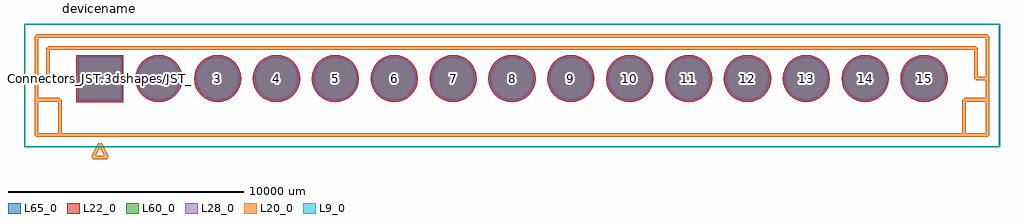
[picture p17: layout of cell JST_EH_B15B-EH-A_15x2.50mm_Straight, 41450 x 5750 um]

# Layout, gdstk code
import gdstk
lib = gdstk.Library(unit=1e-6, precision=1e-09)
def R(c, l, rs):  # rectangles x0, y0, x1, y1
    for r in rs: c.add(gdstk.rectangle(r[:2], r[2:], *l))
def P(c, l, *ps):  # polygons
    for p in ps: c.add(gdstk.Polygon(p, *l))
L9_0 = (9, 0)
L20_0 = (20, 0)
L22_0 = (22, 0)
L28_0 = (28, 0)
L60_0 = (60, 0)
L65_0 = (65, 0)

jst_eh_b15b_eh_a_15x2_50 = lib.new_cell('JST_EH_B15B-EH-A_15x2.50mm_Straight')
R(jst_eh_b15b_eh_a_15x2_50, L22_0, [(-1000,-1000,1000,1000)])
P(jst_eh_b15b_eh_a_15x2_50, L22_0, [(36000,0),(35980.785,195.09),(35923.88,382.683),(35831.47,555.57),(35707.107,707.107),(35555.57,831.47),(35382.683,923.88),(35195.09,980.785),(35000,1000),(34804.91,980.785),(34617.317,923.88),(34444.43,831.47),(34292.893,707.107),(34168.53,555.57),(34076.12,382.683),(34019.215,195.09),(34000,0),(34019.215,-195.09),(34076.12,-382.683),(34168.53,-555.57),(34292.893,-707.107),(34444.43,-831.47),(34617.317,-923.88),(34804.91,-980.785),(35000,-1000),(35195.09,-980.785),(35382.683,-923.88),(35555.57,-831.47),(35707.107,-707.107),(35831.47,-555.57),(35923.88,-382.683),(35980.785,-195.09)],
  [(33500,0),(33480.785,195.09),(33423.88,382.683),(33331.47,555.57),(33207.107,707.107),(33055.57,831.47),(32882.683,923.88),(32695.09,980.785),(32500,1000),(32304.91,980.785),(32117.317,923.88),(31944.43,831.47),(31792.893,707.107),(31668.53,555.57),(31576.12,382.683),(31519.215,195.09),(31500,0),(31519.215,-195.09),(31576.12,-382.683),(31668.53,-555.57),(31792.893,-707.107),(31944.43,-831.47),(32117.317,-923.88),(32304.91,-980.785),(32500,-1000),(32695.09,-980.785),(32882.683,-923.88),(33055.57,-831.47),(33207.107,-707.107),(33331.47,-555.57),(33423.88,-382.683),(33480.785,-195.09)],
  [(31000,0),(30980.785,195.09),(30923.88,382.683),(30831.47,555.57),(30707.107,707.107),(30555.57,831.47),(30382.683,923.88),(30195.09,980.785),(30000,1000),(29804.91,980.785),(29617.317,923.88),(29444.43,831.47),(29292.893,707.107),(29168.53,555.57),(29076.12,382.683),(29019.215,195.09),(29000,0),(29019.215,-195.09),(29076.12,-382.683),(29168.53,-555.57),(29292.893,-707.107),(29444.43,-831.47),(29617.317,-923.88),(29804.91,-980.785),(30000,-1000),(30195.09,-980.785),(30382.683,-923.88),(30555.57,-831.47),(30707.107,-707.107),(30831.47,-555.57),(30923.88,-382.683),(30980.785,-195.09)],
  [(28500,0),(28480.785,195.09),(28423.88,382.683),(28331.47,555.57),(28207.107,707.107),(28055.57,831.47),(27882.683,923.88),(27695.09,980.785),(27500,1000),(27304.91,980.785),(27117.317,923.88),(26944.43,831.47),(26792.893,707.107),(26668.53,555.57),(26576.12,382.683),(26519.215,195.09),(26500,0),(26519.215,-195.09),(26576.12,-382.683),(26668.53,-555.57),(26792.893,-707.107),(26944.43,-831.47),(27117.317,-923.88),(27304.91,-980.785),(27500,-1000),(27695.09,-980.785),(27882.683,-923.88),(28055.57,-831.47),(28207.107,-707.107),(28331.47,-555.57),(28423.88,-382.683),(28480.785,-195.09)],
  [(26000,0),(25980.785,195.09),(25923.88,382.683),(25831.47,555.57),(25707.107,707.107),(25555.57,831.47),(25382.683,923.88),(25195.09,980.785),(25000,1000),(24804.91,980.785),(24617.317,923.88),(24444.43,831.47),(24292.893,707.107),(24168.53,555.57),(24076.12,382.683),(24019.215,195.09),(24000,0),(24019.215,-195.09),(24076.12,-382.683),(24168.53,-555.57),(24292.893,-707.107),(24444.43,-831.47),(24617.317,-923.88),(24804.91,-980.785),(25000,-1000),(25195.09,-980.785),(25382.683,-923.88),(25555.57,-831.47),(25707.107,-707.107),(25831.47,-555.57),(25923.88,-382.683),(25980.785,-195.09)],
  [(23500,0),(23480.785,195.09),(23423.88,382.683),(23331.47,555.57),(23207.107,707.107),(23055.57,831.47),(22882.683,923.88),(22695.09,980.785),(22500,1000),(22304.91,980.785),(22117.317,923.88),(21944.43,831.47),(21792.893,707.107),(21668.53,555.57),(21576.12,382.683),(21519.215,195.09),(21500,0),(21519.215,-195.09),(21576.12,-382.683),(21668.53,-555.57),(21792.893,-707.107),(21944.43,-831.47),(22117.317,-923.88),(22304.91,-980.785),(22500,-1000),(22695.09,-980.785),(22882.683,-923.88),(23055.57,-831.47),(23207.107,-707.107),(23331.47,-555.57),(23423.88,-382.683),(23480.785,-195.09)],
  [(21000,0),(20980.785,195.09),(20923.88,382.683),(20831.47,555.57),(20707.107,707.107),(20555.57,831.47),(20382.683,923.88),(20195.09,980.785),(20000,1000),(19804.91,980.785),(19617.317,923.88),(19444.43,831.47),(19292.893,707.107),(19168.53,555.57),(19076.12,382.683),(19019.215,195.09),(19000,0),(19019.215,-195.09),(19076.12,-382.683),(19168.53,-555.57),(19292.893,-707.107),(19444.43,-831.47),(19617.317,-923.88),(19804.91,-980.785),(20000,-1000),(20195.09,-980.785),(20382.683,-923.88),(20555.57,-831.47),(20707.107,-707.107),(20831.47,-555.57),(20923.88,-382.683),(20980.785,-195.09)],
  [(18500,0),(18480.785,195.09),(18423.88,382.683),(18331.47,555.57),(18207.107,707.107),(18055.57,831.47),(17882.683,923.88),(17695.09,980.785),(17500,1000),(17304.91,980.785),(17117.317,923.88),(16944.43,831.47),(16792.893,707.107),(16668.53,555.57),(16576.12,382.683),(16519.215,195.09),(16500,0),(16519.215,-195.09),(16576.12,-382.683),(16668.53,-555.57),(16792.893,-707.107),(16944.43,-831.47),(17117.317,-923.88),(17304.91,-980.785),(17500,-1000),(17695.09,-980.785),(17882.683,-923.88),(18055.57,-831.47),(18207.107,-707.107),(18331.47,-555.57),(18423.88,-382.683),(18480.785,-195.09)],
  [(16000,0),(15980.785,195.09),(15923.88,382.683),(15831.47,555.57),(15707.107,707.107),(15555.57,831.47),(15382.683,923.88),(15195.09,980.785),(15000,1000),(14804.91,980.785),(14617.317,923.88),(14444.43,831.47),(14292.893,707.107),(14168.53,555.57),(14076.12,382.683),(14019.215,195.09),(14000,0),(14019.215,-195.09),(14076.12,-382.683),(14168.53,-555.57),(14292.893,-707.107),(14444.43,-831.47),(14617.317,-923.88),(14804.91,-980.785),(15000,-1000),(15195.09,-980.785),(15382.683,-923.88),(15555.57,-831.47),(15707.107,-707.107),(15831.47,-555.57),(15923.88,-382.683),(15980.785,-195.09)],
  [(13500,0),(13480.785,195.09),(13423.88,382.683),(13331.47,555.57),(13207.107,707.107),(13055.57,831.47),(12882.683,923.88),(12695.09,980.785),(12500,1000),(12304.91,980.785),(12117.317,923.88),(11944.43,831.47),(11792.893,707.107),(11668.53,555.57),(11576.12,382.683),(11519.215,195.09),(11500,0),(11519.215,-195.09),(11576.12,-382.683),(11668.53,-555.57),(11792.893,-707.107),(11944.43,-831.47),(12117.317,-923.88),(12304.91,-980.785),(12500,-1000),(12695.09,-980.785),(12882.683,-923.88),(13055.57,-831.47),(13207.107,-707.107),(13331.47,-555.57),(13423.88,-382.683),(13480.785,-195.09)],
  [(11000,0),(10980.785,195.09),(10923.88,382.683),(10831.47,555.57),(10707.107,707.107),(10555.57,831.47),(10382.683,923.88),(10195.09,980.785),(10000,1000),(9804.91,980.785),(9617.317,923.88),(9444.43,831.47),(9292.893,707.107),(9168.53,555.57),(9076.12,382.683),(9019.215,195.09),(9000,0),(9019.215,-195.09),(9076.12,-382.683),(9168.53,-555.57),(9292.893,-707.107),(9444.43,-831.47),(9617.317,-923.88),(9804.91,-980.785),(10000,-1000),(10195.09,-980.785),(10382.683,-923.88),(10555.57,-831.47),(10707.107,-707.107),(10831.47,-555.57),(10923.88,-382.683),(10980.785,-195.09)],
  [(8500,0),(8480.785,195.09),(8423.88,382.683),(8331.47,555.57),(8207.107,707.107),(8055.57,831.47),(7882.683,923.88),(7695.09,980.785),(7500,1000),(7304.91,980.785),(7117.317,923.88),(6944.43,831.47),(6792.893,707.107),(6668.53,555.57),(6576.12,382.683),(6519.215,195.09),(6500,0),(6519.215,-195.09),(6576.12,-382.683),(6668.53,-555.57),(6792.893,-707.107),(6944.43,-831.47),(7117.317,-923.88),(7304.91,-980.785),(7500,-1000),(7695.09,-980.785),(7882.683,-923.88),(8055.57,-831.47),(8207.107,-707.107),(8331.47,-555.57),(8423.88,-382.683),(8480.785,-195.09)],
  [(6000,0),(5980.785,195.09),(5923.88,382.683),(5831.47,555.57),(5707.107,707.107),(5555.57,831.47),(5382.683,923.88),(5195.09,980.785),(5000,1000),(4804.91,980.785),(4617.317,923.88),(4444.43,831.47),(4292.893,707.107),(4168.53,555.57),(4076.12,382.683),(4019.215,195.09),(4000,0),(4019.215,-195.09),(4076.12,-382.683),(4168.53,-555.57),(4292.893,-707.107),(4444.43,-831.47),(4617.317,-923.88),(4804.91,-980.785),(5000,-1000),(5195.09,-980.785),(5382.683,-923.88),(5555.57,-831.47),(5707.107,-707.107),(5831.47,-555.57),(5923.88,-382.683),(5980.785,-195.09)],
  [(3500,0),(3480.785,195.09),(3423.88,382.683),(3331.47,555.57),(3207.107,707.107),(3055.57,831.47),(2882.683,923.88),(2695.09,980.785),(2500,1000),(2304.91,980.785),(2117.317,923.88),(1944.43,831.47),(1792.893,707.107),(1668.53,555.57),(1576.12,382.683),(1519.215,195.09),(1500,0),(1519.215,-195.09),(1576.12,-382.683),(1668.53,-555.57),(1792.893,-707.107),(1944.43,-831.47),(2117.317,-923.88),(2304.91,-980.785),(2500,-1000),(2695.09,-980.785),(2882.683,-923.88),(3055.57,-831.47),(3207.107,-707.107),(3331.47,-555.57),(3423.88,-382.683),(3480.785,-195.09)])
R(jst_eh_b15b_eh_a_15x2_50, L28_0, [(-925,-925,925,925)])
P(jst_eh_b15b_eh_a_15x2_50, L28_0, [(35925,0),(35907.226,180.459),(35854.589,353.982),(35769.109,513.902),(35654.074,654.074),(35513.902,769.109),(35353.982,854.589),(35180.459,907.226),(35000,925),(34819.541,907.226),(34646.018,854.589),(34486.098,769.109),(34345.926,654.074),(34230.891,513.902),(34145.411,353.982),(34092.774,180.459),(34075,0),(34092.774,-180.459),(34145.411,-353.982),(34230.891,-513.902),(34345.926,-654.074),(34486.098,-769.109),(34646.018,-854.589),(34819.541,-907.226),(35000,-925),(35180.459,-907.226),(35353.982,-854.589),(35513.902,-769.109),(35654.074,-654.074),(35769.109,-513.902),(35854.589,-353.982),(35907.226,-180.459)],
  [(33425,0),(33407.226,180.459),(33354.589,353.982),(33269.109,513.902),(33154.074,654.074),(33013.902,769.109),(32853.982,854.589),(32680.459,907.226),(32500,925),(32319.541,907.226),(32146.018,854.589),(31986.098,769.109),(31845.926,654.074),(31730.891,513.902),(31645.411,353.982),(31592.774,180.459),(31575,0),(31592.774,-180.459),(31645.411,-353.982),(31730.891,-513.902),(31845.926,-654.074),(31986.098,-769.109),(32146.018,-854.589),(32319.541,-907.226),(32500,-925),(32680.459,-907.226),(32853.982,-854.589),(33013.902,-769.109),(33154.074,-654.074),(33269.109,-513.902),(33354.589,-353.982),(33407.226,-180.459)],
  [(30925,0),(30907.226,180.459),(30854.589,353.982),(30769.109,513.902),(30654.074,654.074),(30513.902,769.109),(30353.982,854.589),(30180.459,907.226),(30000,925),(29819.541,907.226),(29646.018,854.589),(29486.098,769.109),(29345.926,654.074),(29230.891,513.902),(29145.411,353.982),(29092.774,180.459),(29075,0),(29092.774,-180.459),(29145.411,-353.982),(29230.891,-513.902),(29345.926,-654.074),(29486.098,-769.109),(29646.018,-854.589),(29819.541,-907.226),(30000,-925),(30180.459,-907.226),(30353.982,-854.589),(30513.902,-769.109),(30654.074,-654.074),(30769.109,-513.902),(30854.589,-353.982),(30907.226,-180.459)],
  [(28425,0),(28407.226,180.459),(28354.589,353.982),(28269.109,513.902),(28154.074,654.074),(28013.902,769.109),(27853.982,854.589),(27680.459,907.226),(27500,925),(27319.541,907.226),(27146.018,854.589),(26986.098,769.109),(26845.926,654.074),(26730.891,513.902),(26645.411,353.982),(26592.774,180.459),(26575,0),(26592.774,-180.459),(26645.411,-353.982),(26730.891,-513.902),(26845.926,-654.074),(26986.098,-769.109),(27146.018,-854.589),(27319.541,-907.226),(27500,-925),(27680.459,-907.226),(27853.982,-854.589),(28013.902,-769.109),(28154.074,-654.074),(28269.109,-513.902),(28354.589,-353.982),(28407.226,-180.459)],
  [(25925,0),(25907.226,180.459),(25854.589,353.982),(25769.109,513.902),(25654.074,654.074),(25513.902,769.109),(25353.982,854.589),(25180.459,907.226),(25000,925),(24819.541,907.226),(24646.018,854.589),(24486.098,769.109),(24345.926,654.074),(24230.891,513.902),(24145.411,353.982),(24092.774,180.459),(24075,0),(24092.774,-180.459),(24145.411,-353.982),(24230.891,-513.902),(24345.926,-654.074),(24486.098,-769.109),(24646.018,-854.589),(24819.541,-907.226),(25000,-925),(25180.459,-907.226),(25353.982,-854.589),(25513.902,-769.109),(25654.074,-654.074),(25769.109,-513.902),(25854.589,-353.982),(25907.226,-180.459)],
  [(23425,0),(23407.226,180.459),(23354.589,353.982),(23269.109,513.902),(23154.074,654.074),(23013.902,769.109),(22853.982,854.589),(22680.459,907.226),(22500,925),(22319.541,907.226),(22146.018,854.589),(21986.098,769.109),(21845.926,654.074),(21730.891,513.902),(21645.411,353.982),(21592.774,180.459),(21575,0),(21592.774,-180.459),(21645.411,-353.982),(21730.891,-513.902),(21845.926,-654.074),(21986.098,-769.109),(22146.018,-854.589),(22319.541,-907.226),(22500,-925),(22680.459,-907.226),(22853.982,-854.589),(23013.902,-769.109),(23154.074,-654.074),(23269.109,-513.902),(23354.589,-353.982),(23407.226,-180.459)],
  [(20925,0),(20907.226,180.459),(20854.589,353.982),(20769.109,513.902),(20654.074,654.074),(20513.902,769.109),(20353.982,854.589),(20180.459,907.226),(20000,925),(19819.541,907.226),(19646.018,854.589),(19486.098,769.109),(19345.926,654.074),(19230.891,513.902),(19145.411,353.982),(19092.774,180.459),(19075,0),(19092.774,-180.459),(19145.411,-353.982),(19230.891,-513.902),(19345.926,-654.074),(19486.098,-769.109),(19646.018,-854.589),(19819.541,-907.226),(20000,-925),(20180.459,-907.226),(20353.982,-854.589),(20513.902,-769.109),(20654.074,-654.074),(20769.109,-513.902),(20854.589,-353.982),(20907.226,-180.459)],
  [(18425,0),(18407.226,180.459),(18354.589,353.982),(18269.109,513.902),(18154.074,654.074),(18013.902,769.109),(17853.982,854.589),(17680.459,907.226),(17500,925),(17319.541,907.226),(17146.018,854.589),(16986.098,769.109),(16845.926,654.074),(16730.891,513.902),(16645.411,353.982),(16592.774,180.459),(16575,0),(16592.774,-180.459),(16645.411,-353.982),(16730.891,-513.902),(16845.926,-654.074),(16986.098,-769.109),(17146.018,-854.589),(17319.541,-907.226),(17500,-925),(17680.459,-907.226),(17853.982,-854.589),(18013.902,-769.109),(18154.074,-654.074),(18269.109,-513.902),(18354.589,-353.982),(18407.226,-180.459)],
  [(15925,0),(15907.226,180.459),(15854.589,353.982),(15769.109,513.902),(15654.074,654.074),(15513.902,769.109),(15353.982,854.589),(15180.459,907.226),(15000,925),(14819.541,907.226),(14646.018,854.589),(14486.098,769.109),(14345.926,654.074),(14230.891,513.902),(14145.411,353.982),(14092.774,180.459),(14075,0),(14092.774,-180.459),(14145.411,-353.982),(14230.891,-513.902),(14345.926,-654.074),(14486.098,-769.109),(14646.018,-854.589),(14819.541,-907.226),(15000,-925),(15180.459,-907.226),(15353.982,-854.589),(15513.902,-769.109),(15654.074,-654.074),(15769.109,-513.902),(15854.589,-353.982),(15907.226,-180.459)],
  [(13425,0),(13407.226,180.459),(13354.589,353.982),(13269.109,513.902),(13154.074,654.074),(13013.902,769.109),(12853.982,854.589),(12680.459,907.226),(12500,925),(12319.541,907.226),(12146.018,854.589),(11986.098,769.109),(11845.926,654.074),(11730.891,513.902),(11645.411,353.982),(11592.774,180.459),(11575,0),(11592.774,-180.459),(11645.411,-353.982),(11730.891,-513.902),(11845.926,-654.074),(11986.098,-769.109),(12146.018,-854.589),(12319.541,-907.226),(12500,-925),(12680.459,-907.226),(12853.982,-854.589),(13013.902,-769.109),(13154.074,-654.074),(13269.109,-513.902),(13354.589,-353.982),(13407.226,-180.459)],
  [(10925,0),(10907.226,180.459),(10854.589,353.982),(10769.109,513.902),(10654.074,654.074),(10513.902,769.109),(10353.982,854.589),(10180.459,907.226),(10000,925),(9819.541,907.226),(9646.018,854.589),(9486.098,769.109),(9345.926,654.074),(9230.891,513.902),(9145.411,353.982),(9092.774,180.459),(9075,0),(9092.774,-180.459),(9145.411,-353.982),(9230.891,-513.902),(9345.926,-654.074),(9486.098,-769.109),(9646.018,-854.589),(9819.541,-907.226),(10000,-925),(10180.459,-907.226),(10353.982,-854.589),(10513.902,-769.109),(10654.074,-654.074),(10769.109,-513.902),(10854.589,-353.982),(10907.226,-180.459)],
  [(8425,0),(8407.226,180.459),(8354.589,353.982),(8269.109,513.902),(8154.074,654.074),(8013.902,769.109),(7853.982,854.589),(7680.459,907.226),(7500,925),(7319.541,907.226),(7146.018,854.589),(6986.098,769.109),(6845.926,654.074),(6730.891,513.902),(6645.411,353.982),(6592.774,180.459),(6575,0),(6592.774,-180.459),(6645.411,-353.982),(6730.891,-513.902),(6845.926,-654.074),(6986.098,-769.109),(7146.018,-854.589),(7319.541,-907.226),(7500,-925),(7680.459,-907.226),(7853.982,-854.589),(8013.902,-769.109),(8154.074,-654.074),(8269.109,-513.902),(8354.589,-353.982),(8407.226,-180.459)],
  [(5925,0),(5907.226,180.459),(5854.589,353.982),(5769.109,513.902),(5654.074,654.074),(5513.902,769.109),(5353.982,854.589),(5180.459,907.226),(5000,925),(4819.541,907.226),(4646.018,854.589),(4486.098,769.109),(4345.926,654.074),(4230.891,513.902),(4145.411,353.982),(4092.774,180.459),(4075,0),(4092.774,-180.459),(4145.411,-353.982),(4230.891,-513.902),(4345.926,-654.074),(4486.098,-769.109),(4646.018,-854.589),(4819.541,-907.226),(5000,-925),(5180.459,-907.226),(5353.982,-854.589),(5513.902,-769.109),(5654.074,-654.074),(5769.109,-513.902),(5854.589,-353.982),(5907.226,-180.459)],
  [(3425,0),(3407.226,180.459),(3354.589,353.982),(3269.109,513.902),(3154.074,654.074),(3013.902,769.109),(2853.982,854.589),(2680.459,907.226),(2500,925),(2319.541,907.226),(2146.018,854.589),(1986.098,769.109),(1845.926,654.074),(1730.891,513.902),(1645.411,353.982),(1592.774,180.459),(1575,0),(1592.774,-180.459),(1645.411,-353.982),(1730.891,-513.902),(1845.926,-654.074),(1986.098,-769.109),(2146.018,-854.589),(2319.541,-907.226),(2500,-925),(2680.459,-907.226),(2853.982,-854.589),(3013.902,-769.109),(3154.074,-654.074),(3269.109,-513.902),(3354.589,-353.982),(3407.226,-180.459)])
R(jst_eh_b15b_eh_a_15x2_50, L60_0, [(-925,-925,925,925)])
P(jst_eh_b15b_eh_a_15x2_50, L60_0, [(35925,0),(35907.226,180.459),(35854.589,353.982),(35769.109,513.902),(35654.074,654.074),(35513.902,769.109),(35353.982,854.589),(35180.459,907.226),(35000,925),(34819.541,907.226),(34646.018,854.589),(34486.098,769.109),(34345.926,654.074),(34230.891,513.902),(34145.411,353.982),(34092.774,180.459),(34075,0),(34092.774,-180.459),(34145.411,-353.982),(34230.891,-513.902),(34345.926,-654.074),(34486.098,-769.109),(34646.018,-854.589),(34819.541,-907.226),(35000,-925),(35180.459,-907.226),(35353.982,-854.589),(35513.902,-769.109),(35654.074,-654.074),(35769.109,-513.902),(35854.589,-353.982),(35907.226,-180.459)],
  [(33425,0),(33407.226,180.459),(33354.589,353.982),(33269.109,513.902),(33154.074,654.074),(33013.902,769.109),(32853.982,854.589),(32680.459,907.226),(32500,925),(32319.541,907.226),(32146.018,854.589),(31986.098,769.109),(31845.926,654.074),(31730.891,513.902),(31645.411,353.982),(31592.774,180.459),(31575,0),(31592.774,-180.459),(31645.411,-353.982),(31730.891,-513.902),(31845.926,-654.074),(31986.098,-769.109),(32146.018,-854.589),(32319.541,-907.226),(32500,-925),(32680.459,-907.226),(32853.982,-854.589),(33013.902,-769.109),(33154.074,-654.074),(33269.109,-513.902),(33354.589,-353.982),(33407.226,-180.459)],
  [(30925,0),(30907.226,180.459),(30854.589,353.982),(30769.109,513.902),(30654.074,654.074),(30513.902,769.109),(30353.982,854.589),(30180.459,907.226),(30000,925),(29819.541,907.226),(29646.018,854.589),(29486.098,769.109),(29345.926,654.074),(29230.891,513.902),(29145.411,353.982),(29092.774,180.459),(29075,0),(29092.774,-180.459),(29145.411,-353.982),(29230.891,-513.902),(29345.926,-654.074),(29486.098,-769.109),(29646.018,-854.589),(29819.541,-907.226),(30000,-925),(30180.459,-907.226),(30353.982,-854.589),(30513.902,-769.109),(30654.074,-654.074),(30769.109,-513.902),(30854.589,-353.982),(30907.226,-180.459)],
  [(28425,0),(28407.226,180.459),(28354.589,353.982),(28269.109,513.902),(28154.074,654.074),(28013.902,769.109),(27853.982,854.589),(27680.459,907.226),(27500,925),(27319.541,907.226),(27146.018,854.589),(26986.098,769.109),(26845.926,654.074),(26730.891,513.902),(26645.411,353.982),(26592.774,180.459),(26575,0),(26592.774,-180.459),(26645.411,-353.982),(26730.891,-513.902),(26845.926,-654.074),(26986.098,-769.109),(27146.018,-854.589),(27319.541,-907.226),(27500,-925),(27680.459,-907.226),(27853.982,-854.589),(28013.902,-769.109),(28154.074,-654.074),(28269.109,-513.902),(28354.589,-353.982),(28407.226,-180.459)],
  [(25925,0),(25907.226,180.459),(25854.589,353.982),(25769.109,513.902),(25654.074,654.074),(25513.902,769.109),(25353.982,854.589),(25180.459,907.226),(25000,925),(24819.541,907.226),(24646.018,854.589),(24486.098,769.109),(24345.926,654.074),(24230.891,513.902),(24145.411,353.982),(24092.774,180.459),(24075,0),(24092.774,-180.459),(24145.411,-353.982),(24230.891,-513.902),(24345.926,-654.074),(24486.098,-769.109),(24646.018,-854.589),(24819.541,-907.226),(25000,-925),(25180.459,-907.226),(25353.982,-854.589),(25513.902,-769.109),(25654.074,-654.074),(25769.109,-513.902),(25854.589,-353.982),(25907.226,-180.459)],
  [(23425,0),(23407.226,180.459),(23354.589,353.982),(23269.109,513.902),(23154.074,654.074),(23013.902,769.109),(22853.982,854.589),(22680.459,907.226),(22500,925),(22319.541,907.226),(22146.018,854.589),(21986.098,769.109),(21845.926,654.074),(21730.891,513.902),(21645.411,353.982),(21592.774,180.459),(21575,0),(21592.774,-180.459),(21645.411,-353.982),(21730.891,-513.902),(21845.926,-654.074),(21986.098,-769.109),(22146.018,-854.589),(22319.541,-907.226),(22500,-925),(22680.459,-907.226),(22853.982,-854.589),(23013.902,-769.109),(23154.074,-654.074),(23269.109,-513.902),(23354.589,-353.982),(23407.226,-180.459)],
  [(20925,0),(20907.226,180.459),(20854.589,353.982),(20769.109,513.902),(20654.074,654.074),(20513.902,769.109),(20353.982,854.589),(20180.459,907.226),(20000,925),(19819.541,907.226),(19646.018,854.589),(19486.098,769.109),(19345.926,654.074),(19230.891,513.902),(19145.411,353.982),(19092.774,180.459),(19075,0),(19092.774,-180.459),(19145.411,-353.982),(19230.891,-513.902),(19345.926,-654.074),(19486.098,-769.109),(19646.018,-854.589),(19819.541,-907.226),(20000,-925),(20180.459,-907.226),(20353.982,-854.589),(20513.902,-769.109),(20654.074,-654.074),(20769.109,-513.902),(20854.589,-353.982),(20907.226,-180.459)],
  [(18425,0),(18407.226,180.459),(18354.589,353.982),(18269.109,513.902),(18154.074,654.074),(18013.902,769.109),(17853.982,854.589),(17680.459,907.226),(17500,925),(17319.541,907.226),(17146.018,854.589),(16986.098,769.109),(16845.926,654.074),(16730.891,513.902),(16645.411,353.982),(16592.774,180.459),(16575,0),(16592.774,-180.459),(16645.411,-353.982),(16730.891,-513.902),(16845.926,-654.074),(16986.098,-769.109),(17146.018,-854.589),(17319.541,-907.226),(17500,-925),(17680.459,-907.226),(17853.982,-854.589),(18013.902,-769.109),(18154.074,-654.074),(18269.109,-513.902),(18354.589,-353.982),(18407.226,-180.459)],
  [(15925,0),(15907.226,180.459),(15854.589,353.982),(15769.109,513.902),(15654.074,654.074),(15513.902,769.109),(15353.982,854.589),(15180.459,907.226),(15000,925),(14819.541,907.226),(14646.018,854.589),(14486.098,769.109),(14345.926,654.074),(14230.891,513.902),(14145.411,353.982),(14092.774,180.459),(14075,0),(14092.774,-180.459),(14145.411,-353.982),(14230.891,-513.902),(14345.926,-654.074),(14486.098,-769.109),(14646.018,-854.589),(14819.541,-907.226),(15000,-925),(15180.459,-907.226),(15353.982,-854.589),(15513.902,-769.109),(15654.074,-654.074),(15769.109,-513.902),(15854.589,-353.982),(15907.226,-180.459)],
  [(13425,0),(13407.226,180.459),(13354.589,353.982),(13269.109,513.902),(13154.074,654.074),(13013.902,769.109),(12853.982,854.589),(12680.459,907.226),(12500,925),(12319.541,907.226),(12146.018,854.589),(11986.098,769.109),(11845.926,654.074),(11730.891,513.902),(11645.411,353.982),(11592.774,180.459),(11575,0),(11592.774,-180.459),(11645.411,-353.982),(11730.891,-513.902),(11845.926,-654.074),(11986.098,-769.109),(12146.018,-854.589),(12319.541,-907.226),(12500,-925),(12680.459,-907.226),(12853.982,-854.589),(13013.902,-769.109),(13154.074,-654.074),(13269.109,-513.902),(13354.589,-353.982),(13407.226,-180.459)],
  [(10925,0),(10907.226,180.459),(10854.589,353.982),(10769.109,513.902),(10654.074,654.074),(10513.902,769.109),(10353.982,854.589),(10180.459,907.226),(10000,925),(9819.541,907.226),(9646.018,854.589),(9486.098,769.109),(9345.926,654.074),(9230.891,513.902),(9145.411,353.982),(9092.774,180.459),(9075,0),(9092.774,-180.459),(9145.411,-353.982),(9230.891,-513.902),(9345.926,-654.074),(9486.098,-769.109),(9646.018,-854.589),(9819.541,-907.226),(10000,-925),(10180.459,-907.226),(10353.982,-854.589),(10513.902,-769.109),(10654.074,-654.074),(10769.109,-513.902),(10854.589,-353.982),(10907.226,-180.459)],
  [(8425,0),(8407.226,180.459),(8354.589,353.982),(8269.109,513.902),(8154.074,654.074),(8013.902,769.109),(7853.982,854.589),(7680.459,907.226),(7500,925),(7319.541,907.226),(7146.018,854.589),(6986.098,769.109),(6845.926,654.074),(6730.891,513.902),(6645.411,353.982),(6592.774,180.459),(6575,0),(6592.774,-180.459),(6645.411,-353.982),(6730.891,-513.902),(6845.926,-654.074),(6986.098,-769.109),(7146.018,-854.589),(7319.541,-907.226),(7500,-925),(7680.459,-907.226),(7853.982,-854.589),(8013.902,-769.109),(8154.074,-654.074),(8269.109,-513.902),(8354.589,-353.982),(8407.226,-180.459)],
  [(5925,0),(5907.226,180.459),(5854.589,353.982),(5769.109,513.902),(5654.074,654.074),(5513.902,769.109),(5353.982,854.589),(5180.459,907.226),(5000,925),(4819.541,907.226),(4646.018,854.589),(4486.098,769.109),(4345.926,654.074),(4230.891,513.902),(4145.411,353.982),(4092.774,180.459),(4075,0),(4092.774,-180.459),(4145.411,-353.982),(4230.891,-513.902),(4345.926,-654.074),(4486.098,-769.109),(4646.018,-854.589),(4819.541,-907.226),(5000,-925),(5180.459,-907.226),(5353.982,-854.589),(5513.902,-769.109),(5654.074,-654.074),(5769.109,-513.902),(5854.589,-353.982),(5907.226,-180.459)],
  [(3425,0),(3407.226,180.459),(3354.589,353.982),(3269.109,513.902),(3154.074,654.074),(3013.902,769.109),(2853.982,854.589),(2680.459,907.226),(2500,925),(2319.541,907.226),(2146.018,854.589),(1986.098,769.109),(1845.926,654.074),(1730.891,513.902),(1645.411,353.982),(1592.774,180.459),(1575,0),(1592.774,-180.459),(1645.411,-353.982),(1730.891,-513.902),(1845.926,-654.074),(1986.098,-769.109),(2146.018,-854.589),(2319.541,-907.226),(2500,-925),(2680.459,-907.226),(2853.982,-854.589),(3013.902,-769.109),(3154.074,-654.074),(3269.109,-513.902),(3354.589,-353.982),(3407.226,-180.459)])
R(jst_eh_b15b_eh_a_15x2_50, L65_0, [(-1000,-1000,1000,1000)])
P(jst_eh_b15b_eh_a_15x2_50, L65_0, [(36000,0),(35980.785,195.09),(35923.88,382.683),(35831.47,555.57),(35707.107,707.107),(35555.57,831.47),(35382.683,923.88),(35195.09,980.785),(35000,1000),(34804.91,980.785),(34617.317,923.88),(34444.43,831.47),(34292.893,707.107),(34168.53,555.57),(34076.12,382.683),(34019.215,195.09),(34000,0),(34019.215,-195.09),(34076.12,-382.683),(34168.53,-555.57),(34292.893,-707.107),(34444.43,-831.47),(34617.317,-923.88),(34804.91,-980.785),(35000,-1000),(35195.09,-980.785),(35382.683,-923.88),(35555.57,-831.47),(35707.107,-707.107),(35831.47,-555.57),(35923.88,-382.683),(35980.785,-195.09)],
  [(33500,0),(33480.785,195.09),(33423.88,382.683),(33331.47,555.57),(33207.107,707.107),(33055.57,831.47),(32882.683,923.88),(32695.09,980.785),(32500,1000),(32304.91,980.785),(32117.317,923.88),(31944.43,831.47),(31792.893,707.107),(31668.53,555.57),(31576.12,382.683),(31519.215,195.09),(31500,0),(31519.215,-195.09),(31576.12,-382.683),(31668.53,-555.57),(31792.893,-707.107),(31944.43,-831.47),(32117.317,-923.88),(32304.91,-980.785),(32500,-1000),(32695.09,-980.785),(32882.683,-923.88),(33055.57,-831.47),(33207.107,-707.107),(33331.47,-555.57),(33423.88,-382.683),(33480.785,-195.09)],
  [(31000,0),(30980.785,195.09),(30923.88,382.683),(30831.47,555.57),(30707.107,707.107),(30555.57,831.47),(30382.683,923.88),(30195.09,980.785),(30000,1000),(29804.91,980.785),(29617.317,923.88),(29444.43,831.47),(29292.893,707.107),(29168.53,555.57),(29076.12,382.683),(29019.215,195.09),(29000,0),(29019.215,-195.09),(29076.12,-382.683),(29168.53,-555.57),(29292.893,-707.107),(29444.43,-831.47),(29617.317,-923.88),(29804.91,-980.785),(30000,-1000),(30195.09,-980.785),(30382.683,-923.88),(30555.57,-831.47),(30707.107,-707.107),(30831.47,-555.57),(30923.88,-382.683),(30980.785,-195.09)],
  [(28500,0),(28480.785,195.09),(28423.88,382.683),(28331.47,555.57),(28207.107,707.107),(28055.57,831.47),(27882.683,923.88),(27695.09,980.785),(27500,1000),(27304.91,980.785),(27117.317,923.88),(26944.43,831.47),(26792.893,707.107),(26668.53,555.57),(26576.12,382.683),(26519.215,195.09),(26500,0),(26519.215,-195.09),(26576.12,-382.683),(26668.53,-555.57),(26792.893,-707.107),(26944.43,-831.47),(27117.317,-923.88),(27304.91,-980.785),(27500,-1000),(27695.09,-980.785),(27882.683,-923.88),(28055.57,-831.47),(28207.107,-707.107),(28331.47,-555.57),(28423.88,-382.683),(28480.785,-195.09)],
  [(26000,0),(25980.785,195.09),(25923.88,382.683),(25831.47,555.57),(25707.107,707.107),(25555.57,831.47),(25382.683,923.88),(25195.09,980.785),(25000,1000),(24804.91,980.785),(24617.317,923.88),(24444.43,831.47),(24292.893,707.107),(24168.53,555.57),(24076.12,382.683),(24019.215,195.09),(24000,0),(24019.215,-195.09),(24076.12,-382.683),(24168.53,-555.57),(24292.893,-707.107),(24444.43,-831.47),(24617.317,-923.88),(24804.91,-980.785),(25000,-1000),(25195.09,-980.785),(25382.683,-923.88),(25555.57,-831.47),(25707.107,-707.107),(25831.47,-555.57),(25923.88,-382.683),(25980.785,-195.09)],
  [(23500,0),(23480.785,195.09),(23423.88,382.683),(23331.47,555.57),(23207.107,707.107),(23055.57,831.47),(22882.683,923.88),(22695.09,980.785),(22500,1000),(22304.91,980.785),(22117.317,923.88),(21944.43,831.47),(21792.893,707.107),(21668.53,555.57),(21576.12,382.683),(21519.215,195.09),(21500,0),(21519.215,-195.09),(21576.12,-382.683),(21668.53,-555.57),(21792.893,-707.107),(21944.43,-831.47),(22117.317,-923.88),(22304.91,-980.785),(22500,-1000),(22695.09,-980.785),(22882.683,-923.88),(23055.57,-831.47),(23207.107,-707.107),(23331.47,-555.57),(23423.88,-382.683),(23480.785,-195.09)],
  [(21000,0),(20980.785,195.09),(20923.88,382.683),(20831.47,555.57),(20707.107,707.107),(20555.57,831.47),(20382.683,923.88),(20195.09,980.785),(20000,1000),(19804.91,980.785),(19617.317,923.88),(19444.43,831.47),(19292.893,707.107),(19168.53,555.57),(19076.12,382.683),(19019.215,195.09),(19000,0),(19019.215,-195.09),(19076.12,-382.683),(19168.53,-555.57),(19292.893,-707.107),(19444.43,-831.47),(19617.317,-923.88),(19804.91,-980.785),(20000,-1000),(20195.09,-980.785),(20382.683,-923.88),(20555.57,-831.47),(20707.107,-707.107),(20831.47,-555.57),(20923.88,-382.683),(20980.785,-195.09)],
  [(18500,0),(18480.785,195.09),(18423.88,382.683),(18331.47,555.57),(18207.107,707.107),(18055.57,831.47),(17882.683,923.88),(17695.09,980.785),(17500,1000),(17304.91,980.785),(17117.317,923.88),(16944.43,831.47),(16792.893,707.107),(16668.53,555.57),(16576.12,382.683),(16519.215,195.09),(16500,0),(16519.215,-195.09),(16576.12,-382.683),(16668.53,-555.57),(16792.893,-707.107),(16944.43,-831.47),(17117.317,-923.88),(17304.91,-980.785),(17500,-1000),(17695.09,-980.785),(17882.683,-923.88),(18055.57,-831.47),(18207.107,-707.107),(18331.47,-555.57),(18423.88,-382.683),(18480.785,-195.09)],
  [(16000,0),(15980.785,195.09),(15923.88,382.683),(15831.47,555.57),(15707.107,707.107),(15555.57,831.47),(15382.683,923.88),(15195.09,980.785),(15000,1000),(14804.91,980.785),(14617.317,923.88),(14444.43,831.47),(14292.893,707.107),(14168.53,555.57),(14076.12,382.683),(14019.215,195.09),(14000,0),(14019.215,-195.09),(14076.12,-382.683),(14168.53,-555.57),(14292.893,-707.107),(14444.43,-831.47),(14617.317,-923.88),(14804.91,-980.785),(15000,-1000),(15195.09,-980.785),(15382.683,-923.88),(15555.57,-831.47),(15707.107,-707.107),(15831.47,-555.57),(15923.88,-382.683),(15980.785,-195.09)],
  [(13500,0),(13480.785,195.09),(13423.88,382.683),(13331.47,555.57),(13207.107,707.107),(13055.57,831.47),(12882.683,923.88),(12695.09,980.785),(12500,1000),(12304.91,980.785),(12117.317,923.88),(11944.43,831.47),(11792.893,707.107),(11668.53,555.57),(11576.12,382.683),(11519.215,195.09),(11500,0),(11519.215,-195.09),(11576.12,-382.683),(11668.53,-555.57),(11792.893,-707.107),(11944.43,-831.47),(12117.317,-923.88),(12304.91,-980.785),(12500,-1000),(12695.09,-980.785),(12882.683,-923.88),(13055.57,-831.47),(13207.107,-707.107),(13331.47,-555.57),(13423.88,-382.683),(13480.785,-195.09)],
  [(11000,0),(10980.785,195.09),(10923.88,382.683),(10831.47,555.57),(10707.107,707.107),(10555.57,831.47),(10382.683,923.88),(10195.09,980.785),(10000,1000),(9804.91,980.785),(9617.317,923.88),(9444.43,831.47),(9292.893,707.107),(9168.53,555.57),(9076.12,382.683),(9019.215,195.09),(9000,0),(9019.215,-195.09),(9076.12,-382.683),(9168.53,-555.57),(9292.893,-707.107),(9444.43,-831.47),(9617.317,-923.88),(9804.91,-980.785),(10000,-1000),(10195.09,-980.785),(10382.683,-923.88),(10555.57,-831.47),(10707.107,-707.107),(10831.47,-555.57),(10923.88,-382.683),(10980.785,-195.09)],
  [(8500,0),(8480.785,195.09),(8423.88,382.683),(8331.47,555.57),(8207.107,707.107),(8055.57,831.47),(7882.683,923.88),(7695.09,980.785),(7500,1000),(7304.91,980.785),(7117.317,923.88),(6944.43,831.47),(6792.893,707.107),(6668.53,555.57),(6576.12,382.683),(6519.215,195.09),(6500,0),(6519.215,-195.09),(6576.12,-382.683),(6668.53,-555.57),(6792.893,-707.107),(6944.43,-831.47),(7117.317,-923.88),(7304.91,-980.785),(7500,-1000),(7695.09,-980.785),(7882.683,-923.88),(8055.57,-831.47),(8207.107,-707.107),(8331.47,-555.57),(8423.88,-382.683),(8480.785,-195.09)],
  [(6000,0),(5980.785,195.09),(5923.88,382.683),(5831.47,555.57),(5707.107,707.107),(5555.57,831.47),(5382.683,923.88),(5195.09,980.785),(5000,1000),(4804.91,980.785),(4617.317,923.88),(4444.43,831.47),(4292.893,707.107),(4168.53,555.57),(4076.12,382.683),(4019.215,195.09),(4000,0),(4019.215,-195.09),(4076.12,-382.683),(4168.53,-555.57),(4292.893,-707.107),(4444.43,-831.47),(4617.317,-923.88),(4804.91,-980.785),(5000,-1000),(5195.09,-980.785),(5382.683,-923.88),(5555.57,-831.47),(5707.107,-707.107),(5831.47,-555.57),(5923.88,-382.683),(5980.785,-195.09)],
  [(3500,0),(3480.785,195.09),(3423.88,382.683),(3331.47,555.57),(3207.107,707.107),(3055.57,831.47),(2882.683,923.88),(2695.09,980.785),(2500,1000),(2304.91,980.785),(2117.317,923.88),(1944.43,831.47),(1792.893,707.107),(1668.53,555.57),(1576.12,382.683),(1519.215,195.09),(1500,0),(1519.215,-195.09),(1576.12,-382.683),(1668.53,-555.57),(1792.893,-707.107),(1944.43,-831.47),(2117.317,-923.88),(2304.91,-980.785),(2500,-1000),(2695.09,-980.785),(2882.683,-923.88),(3055.57,-831.47),(3207.107,-707.107),(3331.47,-555.57),(3423.88,-382.683),(3480.785,-195.09)])
jst_eh_b15b_eh_a_15x2_50.add(gdstk.FlexPath([(38200,2300),(-3200,2300)], 50, ends="flush", simple_path=True, layer=9, datatype=0))  # L9_0
jst_eh_b15b_eh_a_15x2_50.add(gdstk.FlexPath([(38200,-2900),(38200,2300)], 50, ends="flush", simple_path=True, layer=9, datatype=0))  # L9_0
jst_eh_b15b_eh_a_15x2_50.add(gdstk.FlexPath([(-3200,-2900),(38200,-2900)], 50, ends="flush", simple_path=True, layer=9, datatype=0))  # L9_0
jst_eh_b15b_eh_a_15x2_50.add(gdstk.FlexPath([(-3200,2300),(-3200,-2900)], 50, ends="flush", simple_path=True, layer=9, datatype=0))  # L9_0
jst_eh_b15b_eh_a_15x2_50.add(gdstk.FlexPath([(300,-3350),(0,-2750)], 149.998, ends="flush", simple_path=True, layer=20, datatype=0))  # L20_0
jst_eh_b15b_eh_a_15x2_50.add(gdstk.FlexPath([(-300,-3350),(300,-3350)], 149.998, ends="flush", simple_path=True, layer=20, datatype=0))  # L20_0
jst_eh_b15b_eh_a_15x2_50.add(gdstk.FlexPath([(0,-2750),(-300,-3350)], 149.998, ends="flush", simple_path=True, layer=20, datatype=0))  # L20_0
jst_eh_b15b_eh_a_15x2_50.add(gdstk.FlexPath([(36700,-900),(36700,-2400)], 149.998, ends="flush", simple_path=True, layer=20, datatype=0))  # L20_0
jst_eh_b15b_eh_a_15x2_50.add(gdstk.FlexPath([(37700,-900),(36700,-900)], 149.998, ends="flush", simple_path=True, layer=20, datatype=0))  # L20_0
jst_eh_b15b_eh_a_15x2_50.add(gdstk.FlexPath([(-1700,-900),(-1700,-2400)], 149.998, ends="flush", simple_path=True, layer=20, datatype=0))  # L20_0
jst_eh_b15b_eh_a_15x2_50.add(gdstk.FlexPath([(-2700,-900),(-1700,-900)], 149.998, ends="flush", simple_path=True, layer=20, datatype=0))  # L20_0
jst_eh_b15b_eh_a_15x2_50.add(gdstk.FlexPath([(37200,0),(37700,0)], 149.998, ends="flush", simple_path=True, layer=20, datatype=0))  # L20_0
jst_eh_b15b_eh_a_15x2_50.add(gdstk.FlexPath([(37200,1300),(37200,0)], 149.998, ends="flush", simple_path=True, layer=20, datatype=0))  # L20_0
jst_eh_b15b_eh_a_15x2_50.add(gdstk.FlexPath([(-2200,1300),(37200,1300)], 149.998, ends="flush", simple_path=True, layer=20, datatype=0))  # L20_0
jst_eh_b15b_eh_a_15x2_50.add(gdstk.FlexPath([(-2200,0),(-2200,1300)], 149.998, ends="flush", simple_path=True, layer=20, datatype=0))  # L20_0
jst_eh_b15b_eh_a_15x2_50.add(gdstk.FlexPath([(-2700,0),(-2200,0)], 149.998, ends="flush", simple_path=True, layer=20, datatype=0))  # L20_0
jst_eh_b15b_eh_a_15x2_50.add(gdstk.FlexPath([(37700,1800),(-2700,1800)], 149.998, ends="flush", simple_path=True, layer=20, datatype=0))  # L20_0
jst_eh_b15b_eh_a_15x2_50.add(gdstk.FlexPath([(37700,-2400),(37700,1800)], 149.998, ends="flush", simple_path=True, layer=20, datatype=0))  # L20_0
jst_eh_b15b_eh_a_15x2_50.add(gdstk.FlexPath([(-2700,-2400),(37700,-2400)], 149.998, ends="flush", simple_path=True, layer=20, datatype=0))  # L20_0
jst_eh_b15b_eh_a_15x2_50.add(gdstk.FlexPath([(-2700,1800),(-2700,-2400)], 149.998, ends="flush", simple_path=True, layer=20, datatype=0))  # L20_0
jst_eh_b15b_eh_a_15x2_50.add(gdstk.Label('Connectors_JST.3dshapes/JST_EH_B15B-EH-A_15x2.50mm_Straight.wrl', (0,0), layer=12, texttype=0))
jst_eh_b15b_eh_a_15x2_50.add(gdstk.Label('15', (35000,0), layer=28, texttype=0))
jst_eh_b15b_eh_a_15x2_50.add(gdstk.Label('14', (32500,0), layer=28, texttype=0))
jst_eh_b15b_eh_a_15x2_50.add(gdstk.Label('13', (30000,0), layer=28, texttype=0))
jst_eh_b15b_eh_a_15x2_50.add(gdstk.Label('12', (27500,0), layer=28, texttype=0))
jst_eh_b15b_eh_a_15x2_50.add(gdstk.Label('11', (25000,0), layer=28, texttype=0))
jst_eh_b15b_eh_a_15x2_50.add(gdstk.Label('10', (22500,0), layer=28, texttype=0))
jst_eh_b15b_eh_a_15x2_50.add(gdstk.Label('9', (20000,0), layer=28, texttype=0))
jst_eh_b15b_eh_a_15x2_50.add(gdstk.Label('8', (17500,0), layer=28, texttype=0))
jst_eh_b15b_eh_a_15x2_50.add(gdstk.Label('7', (15000,0), layer=28, texttype=0))
jst_eh_b15b_eh_a_15x2_50.add(gdstk.Label('6', (12500,0), layer=28, texttype=0))
jst_eh_b15b_eh_a_15x2_50.add(gdstk.Label('5', (10000,0), layer=28, texttype=0))
jst_eh_b15b_eh_a_15x2_50.add(gdstk.Label('4', (7500,0), layer=28, texttype=0))
jst_eh_b15b_eh_a_15x2_50.add(gdstk.Label('3', (5000,0), layer=28, texttype=0))
jst_eh_b15b_eh_a_15x2_50.add(gdstk.Label('2', (2500,0), layer=28, texttype=0))
jst_eh_b15b_eh_a_15x2_50.add(gdstk.Label('1', (0,0), layer=28, texttype=0))
jst_eh_b15b_eh_a_15x2_50.add(gdstk.Label('type', (0,-5000), layer=9, texttype=0))
jst_eh_b15b_eh_a_15x2_50.add(gdstk.Label('devicename', (0,3000), layer=9, texttype=0))

lib.write_gds('JST_EH_B15B-EH-A_15x2.50mm_Straight.gds')
